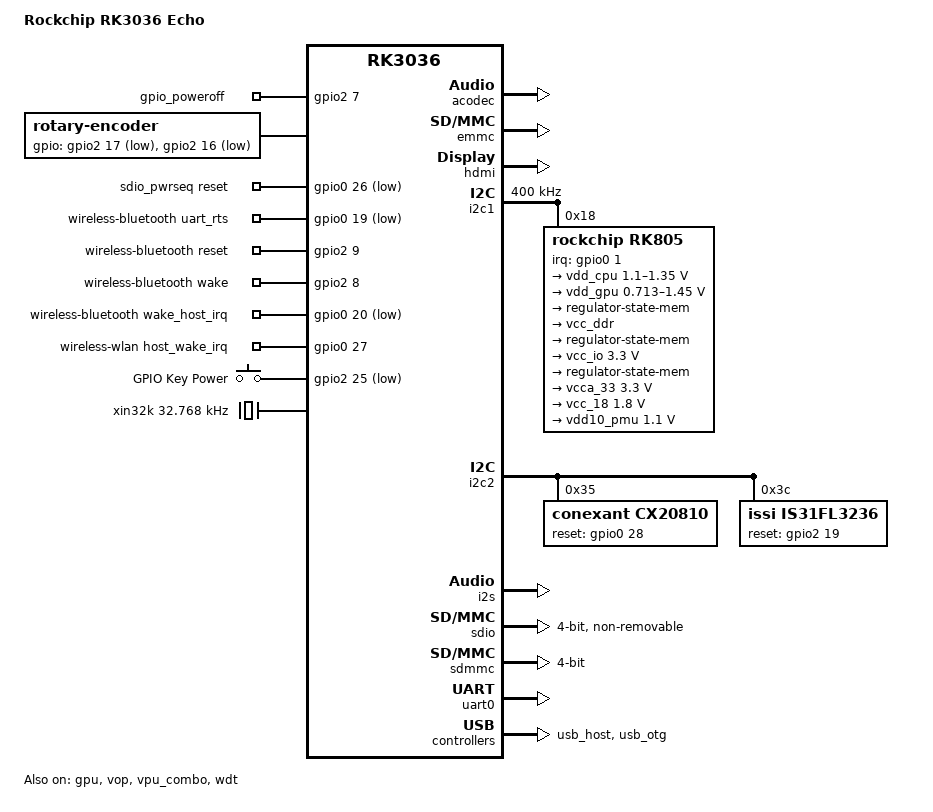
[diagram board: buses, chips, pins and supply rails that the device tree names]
/*
 * This file is dual-licensed: you can use it either under the terms
 * of the GPL or the X11 license, at your option. Note that this dual
 * licensing only applies to this file, and not this project as a
 * whole.
 *
 *  a) This file is free software; you can redistribute it and/or
 *     modify it under the terms of the GNU General Public License as
 *     published by the Free Software Foundation; either version 2 of the
 *     License, or (at your option) any later version.
 *
 *     This file is distributed in the hope that it will be useful,
 *     but WITHOUT ANY WARRANTY; without even the implied warranty of
 *     MERCHANTABILITY or FITNESS FOR A PARTICULAR PURPOSE.  See the
 *     GNU General Public License for more details.
 *
 *  Or, alternatively,
 *
 *  b) Permission is hereby granted, free of charge, to any person
 *     obtaining a copy of this software and associated documentation
 *     files (the "Software"), to deal in the Software without
 *     restriction, including without limitation the rights to use,
 *     copy, modify, merge, publish, distribute, sublicense, and/or
 *     sell copies of the Software, and to permit persons to whom the
 *     Software is furnished to do so, subject to the following
 *     conditions:
 *
 *     The above copyright notice and this permission notice shall be
 *     included in all copies or substantial portions of the Software.
 *
 *     THE SOFTWARE IS PROVIDED "AS IS", WITHOUT WARRANTY OF ANY KIND,
 *     EXPRESS OR IMPLIED, INCLUDING BUT NOT LIMITED TO THE WARRANTIES
 *     OF MERCHANTABILITY, FITNESS FOR A PARTICULAR PURPOSE AND
 *     NONINFRINGEMENT. IN NO EVENT SHALL THE AUTHORS OR COPYRIGHT
 *     HOLDERS BE LIABLE FOR ANY CLAIM, DAMAGES OR OTHER LIABILITY,
 *     WHETHER IN AN ACTION OF CONTRACT, TORT OR OTHERWISE, ARISING
 *     FROM, OUT OF OR IN CONNECTION WITH THE SOFTWARE OR THE USE OR
 *     OTHER DEALINGS IN THE SOFTWARE.
 */

/dts-v1/;

#include "rk3036.dtsi"

/ {
	model = "Rockchip RK3036 Echo";
	compatible = "rockchip,rk3036-echo", "rockchip,rk3036";

	fiq-debugger {
		compatible = "rockchip,fiq-debugger";
		interrupts = <GIC_SPI 127 IRQ_TYPE_LEVEL_LOW>;
		rockchip,serial-id = <2>;
		rockchip,wake-irq = <0>;
		/* If enable uart uses irq instead of fiq */
		rockchip,irq-mode-enable = <0>;
		/* Only 115200 and 1500000 */
		rockchip,baudrate = <115200>;
		pinctrl-names = "default";
		pinctrl-0 = <&uart2_xfer>;
		status = "okay";
	};

	chosen {
		bootargs = "earlycon=uart8250,mmio32,0x20068000";
	};

	/* rk805 pmic sleep/poweroff */
	gpio_poweroff {
		compatible = "gpio-poweroff";
		gpios = <&gpio2 7 GPIO_ACTIVE_HIGH>;
		status = "okay";
	};

	rotary {
		compatible = "rotary-encoder";
		gpios = <&gpio2 17 GPIO_ACTIVE_LOW>,
				<&gpio2 16 GPIO_ACTIVE_LOW>;
		linux,axis = <0>; /* REL_X */
		rotary-encoder,relative-axis;
	};

	sdio_pwrseq: sdio-pwrseq {
		compatible = "mmc-pwrseq-simple";
		pinctrl-names = "default";
		pinctrl-0 = <&bt_wake_h>;

		/*
		 * On the module itself this is one of these (depending
		 * on the actual card populated):
		 * - SDIO_RESET_L_WL_REG_ON
		 * - SDIO_RESET_L_WL_RST
		 * - SDIO_RESET_L_BT_EN
		 */
		reset-gpios = <&gpio0 26 GPIO_ACTIVE_LOW>; /* WL_REG_ON */
	};

	wireless-bluetooth {
		compatible = "bluetooth-platdata";
		uart_rts_gpios = <&gpio0 19 GPIO_ACTIVE_LOW>;
		pinctrl-names = "default", "rts_gpio";
		pinctrl-0 = <&uart0_rts>;
		pinctrl-1 = <&uart0_gpios>;
		BT,reset_gpio = <&gpio2 9 GPIO_ACTIVE_HIGH>;
		BT,wake_gpio = <&gpio2 8 GPIO_ACTIVE_HIGH>;
		BT,wake_host_irq = <&gpio0 20 GPIO_ACTIVE_LOW>;
		status = "okay";
	};

	wireless-wlan {
		compatible = "wlan-platdata";
		rockchip,grf = <&grf>;
		wifi_chip_type = "ap6212";
		WIFI,host_wake_irq = <&gpio0 27 GPIO_ACTIVE_HIGH>;
		status = "okay";
	};

	gpio_keys {
		compatible = "gpio-keys";
		#address-cells = <1>;
		#size-cells = <0>;

		pinctrl-names = "default";
		pinctrl-0 = <&pwr_key>;

		power_key: power-key {
			label = "GPIO Key Power";
			gpios = <&gpio2 25 GPIO_ACTIVE_LOW>;
			linux,code = <207>;
			debounce-interval = <100>;
			wakeup-source;
		};
	};

	xin32k: xin32k {
		compatible = "fixed-clock";
		clock-frequency = <32768>;
		clock-output-names = "xin32k";
		#clock-cells = <0>;
	};
};

&acodec {
	status = "okay";
};

&cpu0 {
	cpu-supply = <&vdd_cpu>;
};

&cpu0_opp_table {
	/delete-node/ opp-408000000;
	/delete-node/ opp-600000000;
};

&emmc {
	status = "okay";
};

&gpu {
	status = "okay";
	mali-supply = <&vdd_gpu>;
};

&hdmi {
	status = "okay";
};

&hevc_mmu {
	status = "okay";
};

&i2c1 {
	clock-frequency = <400000>;

	status = "okay";

	rk805: rk805@18 {
		compatible = "rockchip,rk805";
		status = "okay";
		reg = <0x18>;
		interrupt-parent = <&gpio0>;
		interrupts = <1 IRQ_TYPE_LEVEL_LOW>;
		spinctrl-names = "default";
		pinctrl-0 = <&pmic_int>;
		rockchip,system-power-controller;
		wakeup-source;
		gpio-controller;
		#gpio-cells = <2>;
		#clock-cells = <1>;
		clock-output-names = "rk805-clkout1", "rk805-clkout2";

		rtc {
			status = "okay";
		};

		pwrkey {
			status = "okay";
		};

		gpio {
			status = "okay";
		};

		regulators {
			compatible = "rk805-regulator";
			status = "okay";
			#address-cells = <1>;
			#size-cells = <0>;

			vdd_cpu: RK805_DCDC1@0 {
				regulator-compatible = "RK805_DCDC1";
				regulator-name = "vdd_gpu";
				regulator-min-microvolt = <1100000>;
				regulator-max-microvolt = <1350000>;
				regulator-initial-mode = <0x1>;
				regulator-ramp-delay = <12500>;
				regulator-boot-on;
				regulator-always-on;
				regulator-state-mem {
					regulator-off-in-suspend;
				};
			};

			vdd_gpu: RK805_DCDC2@1 {
				regulator-compatible = "RK805_DCDC2";
				regulator-name = "vdd_gpu";
				regulator-min-microvolt = <712500>;
				regulator-max-microvolt = <1450000>;
				regulator-initial-mode = <0x1>;
				regulator-ramp-delay = <12500>;
				regulator-boot-on;
				regulator-always-on;
				regulator-state-mem {
					regulator-mode = <0x2>;
					regulator-on-in-suspend;
					regulator-suspend-microvolt = <1000000>;
				};
			};

			vcc_ddr: RK805_DCDC3@2 {
				regulator-compatible = "RK805_DCDC3";
				regulator-name = "vcc_ddr";
				regulator-initial-mode = <0x1>;
				regulator-boot-on;
				regulator-always-on;
				regulator-state-mem {
					regulator-mode = <0x2>;
					regulator-on-in-suspend;
				};
			};

			vcc_io: RK805_DCDC4@3 {
				regulator-compatible = "RK805_DCDC4";
				regulator-name = "vcc_io";
				regulator-min-microvolt = <3300000>;
				regulator-max-microvolt = <3300000>;
				regulator-initial-mode = <0x1>;
				regulator-boot-on;
				regulator-always-on;
				regulator-state-mem {
					regulator-mode = <0x2>;
					regulator-on-in-suspend;
					regulator-suspend-microvolt = <3300000>;
				};
			};

			vcca_33: RK805_LDO1@4 {
				regulator-compatible = "RK805_LDO1";
				regulator-name = "vcca_33";
				regulator-min-microvolt = <3300000>;
				regulator-max-microvolt = <3300000>;
				regulator-initial-state = <3>;
				regulator-boot-on;
				regulator-always-on;
				regulator-state-mem {
					regulator-on-in-suspend;
					regulator-suspend-microvolt = <3300000>;
				};
			};

			vcc_18: RK805_LDO2@5 {
				regulator-compatible = "RK805_LDO2";
				regulator-name = "vcc_18";
				regulator-min-microvolt = <1800000>;
				regulator-max-microvolt = <1800000>;
				regulator-boot-on;
				regulator-always-on;
				regulator-state-mem {
					regulator-on-in-suspend;
					regulator-suspend-microvolt = <1800000>;
				};
			};

			vdd10_pmu: RK805_LDO3@6 {
				regulator-compatible = "RK805_LDO3";
				regulator-name = "vdd10_pmu";
				regulator-min-microvolt = <1100000>;
				regulator-max-microvolt = <1100000>;
				regulator-boot-on;
				regulator-always-on;
				regulator-state-mem {
					regulator-on-in-suspend;
					regulator-suspend-microvolt = <1100000>;
				};
			};
		};
	};
};

&i2c2 {
	status = "okay";
	cx20810: cx20810@35 {
		compatible = "conexant,cx20810";
		reg = <0x35>;
		reset-gpios = <&gpio0 28 GPIO_ACTIVE_HIGH>;
		status = "okay";
	};

	is31fl3236: led-controller@3c {
		compatible = "issi,is31fl3236";
		reg = <0x3c>;
		#address-cells = <1>;
		#size-cells = <0>;
		reset-gpios = <&gpio2 19 GPIO_ACTIVE_HIGH>;
		status = "okay";

		led1: led@1 {
			label = "led1";
			reg = <1>;
			led-max-microamp = <10000>;
			linux,default-trigger = "timer";
			linux,default-trigger-delay-ms = <0>;
			linux,blink-delay-on-ms = <100>;
			linux,blink-delay-off-ms = <1200>;
		};

		led2: led@2 {
			label = "led2";
			reg = <2>;
			led-max-microamp = <10000>;
			linux,default-trigger = "timer";
			linux,default-trigger-delay-ms = <0>;
			linux,blink-delay-on-ms = <100>;
			linux,blink-delay-off-ms = <1200>;
		};

		led3: led@3 {
			label = "led3";
			reg = <3>;
			led-max-microamp = <10000>;
			linux,default-trigger = "default-on";
		};

		led4: led@4 {
			label = "led4";
			reg = <4>;
			led-max-microamp = <10000>;
			linux,default-trigger = "timer";
			linux,default-trigger-delay-ms = <100>;
			linux,blink-delay-on-ms = <100>;
			linux,blink-delay-off-ms = <1200>;
		};

		led5: led@5 {
			label = "led5";
			reg = <5>;
			led-max-microamp = <10000>;
			linux,default-trigger = "timer";
			linux,default-trigger-delay-ms = <100>;
			linux,blink-delay-on-ms = <100>;
			linux,blink-delay-off-ms = <1200>;
		};

		led6: led@6 {
			label = "led6";
			reg = <6>;
			led-max-microamp = <10000>;
			linux,default-trigger = "default-on";
		};

		led7: led@7 {
			label = "led7";
			reg = <7>;
			led-max-microamp = <10000>;
			linux,default-trigger = "timer";
			linux,default-trigger-delay-ms = <200>;
			linux,blink-delay-on-ms = <100>;
			linux,blink-delay-off-ms = <1200>;
		};

		led8: led@8 {
			label = "led8";
			reg = <8>;
			led-max-microamp = <10000>;
			linux,default-trigger = "timer";
			linux,default-trigger-delay-ms = <200>;
			linux,blink-delay-on-ms = <100>;
			linux,blink-delay-off-ms = <1200>;
		};

		led9: led@9 {
			label = "led9";
			reg = <9>;
			led-max-microamp = <10000>;
			linux,default-trigger = "default-on";
		};

		led10: led@10 {
			label = "led10";
			reg = <10>;
			led-max-microamp = <10000>;
			linux,default-trigger = "timer";
			linux,default-trigger-delay-ms = <300>;
			linux,blink-delay-on-ms = <100>;
			linux,blink-delay-off-ms = <1200>;
		};

		led11: led@11 {
			label = "led11";
			reg = <11>;
			led-max-microamp = <10000>;
			linux,default-trigger = "timer";
			linux,default-trigger-delay-ms = <300>;
			linux,blink-delay-on-ms = <100>;
			linux,blink-delay-off-ms = <1200>;
		};

		led12: led@12 {
			label = "led12";
			reg = <12>;
			led-max-microamp = <10000>;
			linux,default-trigger = "default-on";
		};

		led13: led@13 {
			label = "led13";
			reg = <13>;
			led-max-microamp = <10000>;
			linux,default-trigger = "timer";
			linux,default-trigger-delay-ms = <400>;
			linux,blink-delay-on-ms = <100>;
			linux,blink-delay-off-ms = <1200>;
		};

		led14: led@14 {
			label = "led14";
			reg = <14>;
			led-max-microamp = <10000>;
			linux,default-trigger = "timer";
			linux,default-trigger-delay-ms = <400>;
			linux,blink-delay-on-ms = <100>;
			linux,blink-delay-off-ms = <1200>;
		};

		led15: led@15 {
			label = "led15";
			reg = <15>;
			led-max-microamp = <10000>;
			linux,default-trigger = "default-on";
		};

		led16: led@16 {
			label = "led16";
			reg = <16>;
			led-max-microamp = <10000>;
			linux,default-trigger = "timer";
			linux,default-trigger-delay-ms = <500>;
			linux,blink-delay-on-ms = <100>;
			linux,blink-delay-off-ms = <1200>;
		};

		led17: led@17 {
			label = "led17";
			reg = <17>;
			led-max-microamp = <10000>;
			linux,default-trigger = "timer";
			linux,default-trigger-delay-ms = <500>;
			linux,blink-delay-on-ms = <100>;
			linux,blink-delay-off-ms = <1200>;
		};

		led18: led@18 {
			label = "led18";
			reg = <18>;
			led-max-microamp = <10000>;
			linux,default-trigger = "default-on";
		};

		led19: led@19 {
			label = "led19";
			reg = <19>;
			led-max-microamp = <10000>;
			linux,default-trigger = "timer";
			linux,default-trigger-delay-ms = <600>;
			linux,blink-delay-on-ms = <100>;
			linux,blink-delay-off-ms = <1200>;
		};

		led20: led@20 {
			label = "led20";
			reg = <20>;
			led-max-microamp = <10000>;
			linux,default-trigger = "timer";
			linux,default-trigger-delay-ms = <600>;
			linux,blink-delay-on-ms = <100>;
			linux,blink-delay-off-ms = <1200>;
		};

		led21: led@21 {
			label = "led21";
			reg = <21>;
			led-max-microamp = <10000>;
			linux,default-trigger = "default-on";
		};

		led22: led@22 {
			label = "led22";
			reg = <22>;
			led-max-microamp = <10000>;
			linux,default-trigger = "timer";
			linux,default-trigger-delay-ms = <700>;
			linux,blink-delay-on-ms = <100>;
			linux,blink-delay-off-ms = <1200>;
		};

		led23: led@23 {
			label = "led23";
			reg = <23>;
			led-max-microamp = <10000>;
			linux,default-trigger = "timer";
			linux,default-trigger-delay-ms = <700>;
			linux,blink-delay-on-ms = <100>;
			linux,blink-delay-off-ms = <1200>;
		};

		led124: led@24 {
			label = "led24";
			reg = <24>;
			led-max-microamp = <10000>;
			linux,default-trigger = "default-on";
		};

		led25: led@25 {
			label = "led25";
			reg = <25>;
			led-max-microamp = <10000>;
			linux,default-trigger = "timer";
			linux,default-trigger-delay-ms = <800>;
			linux,blink-delay-on-ms = <100>;
			linux,blink-delay-off-ms = <1200>;
		};

		led26: led@26 {
			label = "led26";
			reg = <26>;
			led-max-microamp = <10000>;
			linux,default-trigger = "timer";
			linux,default-trigger-delay-ms = <800>;
			linux,blink-delay-on-ms = <100>;
			linux,blink-delay-off-ms = <1200>;
		};

		led27: led@27 {
			label = "led27";
			reg = <27>;
			led-max-microamp = <10000>;
			linux,default-trigger = "default-on";
		};

		led28: led@28 {
			label = "led28";
			reg = <28>;
			led-max-microamp = <10000>;
			linux,default-trigger = "timer";
			linux,default-trigger-delay-ms = <900>;
			linux,blink-delay-on-ms = <100>;
			linux,blink-delay-off-ms = <1200>;
		};

		led29: led@29 {
			label = "led29";
			reg = <29>;
			led-max-microamp = <10000>;
			linux,default-trigger = "timer";
			linux,default-trigger-delay-ms = <900>;
			linux,blink-delay-on-ms = <100>;
			linux,blink-delay-off-ms = <1200>;
		};

		led30: led@30 {
			label = "led30";
			reg = <30>;
			led-max-microamp = <10000>;
			linux,default-trigger = "default-on";
		};

		led31: led@31 {
			label = "led31";
			reg = <31>;
			led-max-microamp = <10000>;
			linux,default-trigger = "timer";
			linux,default-trigger-delay-ms = <1000>;
			linux,blink-delay-on-ms = <100>;
			linux,blink-delay-off-ms = <1200>;
		};

		led32: led@32 {
			label = "led32";
			reg = <32>;
			led-max-microamp = <10000>;
			linux,default-trigger = "timer";
			linux,default-trigger-delay-ms = <1000>;
			linux,blink-delay-on-ms = <100>;
			linux,blink-delay-off-ms = <1200>;
		};

		led33: led@33 {
			label = "led33";
			reg = <33>;
			led-max-microamp = <10000>;
			linux,default-trigger = "default-on";
		};

		led34: led@34 {
			label = "led34";
			reg = <34>;
			led-max-microamp = <10000>;
			linux,default-trigger = "timer";
			linux,default-trigger-delay-ms = <1100>;
			linux,blink-delay-on-ms = <100>;
			linux,blink-delay-off-ms = <1200>;
		};

		led35: led@35 {
			label = "led35";
			reg = <35>;
			led-max-microamp = <10000>;
			linux,default-trigger = "timer";
			linux,default-trigger-delay-ms = <1100>;
			linux,blink-delay-on-ms = <100>;
			linux,blink-delay-off-ms = <1200>;
		};

		led36: led@36 {
			label = "led36";
			reg = <36>;
			led-max-microamp = <10000>;
			linux,default-trigger = "default-on";
		};
	};
};

&i2s {
	#sound-dai-cells = <0>;
	status = "okay";
};

&sdio {
	status = "okay";

	bus-width = <4>;
	cap-sd-highspeed;
	cap-sdio-irq;
	default-sample-phase = <90>;
	keep-power-in-suspend;
	mmc-pwrseq = <&sdio_pwrseq>;
	non-removable;
	num-slots = <1>;
	pinctrl-names = "default";
	pinctrl-0 = <&sdio_clk &sdio_cmd &sdio_bus4>;
	sd-uhs-sdr12;
	sd-uhs-sdr25;
	sd-uhs-sdr50;
	sd-uhs-sdr104;
	supports-sdio;
};

&sdmmc {
	bus-width = <4>;
	cap-mmc-highspeed;
	cap-sd-highspeed;
	card-detect-delay = <200>;
	disable-wp;
	num-slots = <1>;
	pinctrl-names = "default";
	pinctrl-0 = <&sdmmc_clk>, <&sdmmc_cmd>, <&sdmmc_cd>, <&sdmmc_bus4>;
};

&uart0 {
	pinctrl-0 = <&uart0_xfer>, <&uart0_cts>;
	status = "okay";
};

&uart2 {
	status = "disabled";
};

&usb_host {
	status = "okay";
};

&usb_otg {
	status = "okay";
};

&vop {
	status = "okay";
};

&vop_mmu {
	status = "okay";
};

&vpu_combo {
	status = "okay";
};

&vpu_mmu {
	status = "okay";
};

&wdt {
	status = "okay";
};

&pinctrl {
	pmic {
		pmic_int: pmic-int {
			rockchip,pins = <0 1 RK_FUNC_GPIO &pcfg_pull_default>;
		};
	};

	keys {
		pwr_key: pwr-key {
			rockchip,pins = <2 25 RK_FUNC_GPIO &pcfg_pull_default>;
		};
	};

	sdio {
		bt_wake_h: bt-wake-h {
			rockchip,pins = <2 8 RK_FUNC_GPIO &pcfg_pull_default>;
		};
	};

	sdmmc {
		sdmmc_pwr: sdmmc-pwr {
			rockchip,pins = <2 28 RK_FUNC_GPIO &pcfg_pull_none>;
		};
	};

	sleep {
		global_pwroff: global-pwroff {
			rockchip,pins = <2 7 RK_FUNC_1 &pcfg_pull_none>;
		};
	};

	wireless-bluetooth {
		uart0_gpios: uart0-gpios {
			rockchip,pins = <0 19 RK_FUNC_GPIO &pcfg_pull_none>;
		};
	};
};
